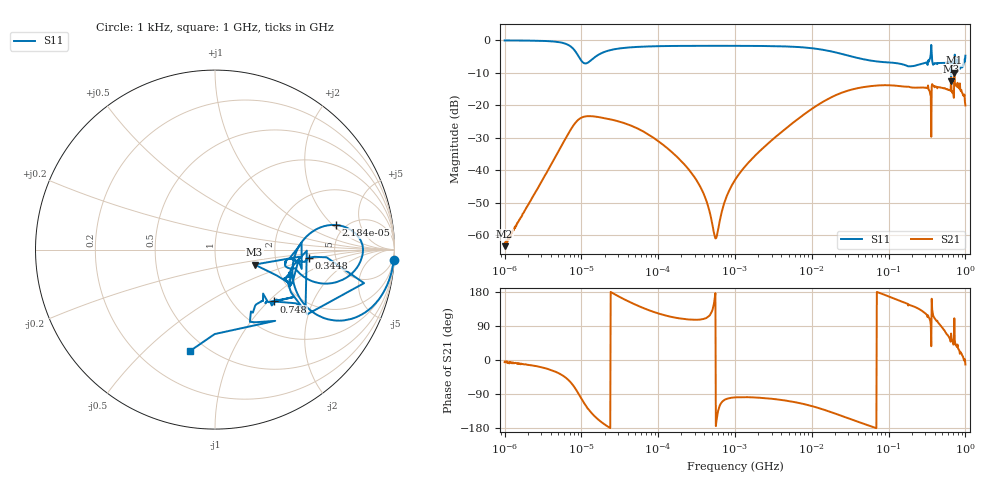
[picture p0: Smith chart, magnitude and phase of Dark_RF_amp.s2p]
! ListType=Log
# MHZ S RI R 50
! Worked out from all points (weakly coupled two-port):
!   1000 points, 1 kHz to 1 GHz, reference 50 ohm
!   highest |S21| = -9.95 dB at 717.6 MHz (marker M1); lowest = -63.4 dB at 1 kHz (marker M2)
!   lowest |S11| = -12.6 dB at 651.3 MHz (marker M3), VSWR 1.62, Z = 76.8 - j13.6 ohm
!   |S11| at or under -10 dB: 647.6 MHz to 657.1 MHz (9.56 MHz wide, 1.47 % of centre)
!   S12 and S22 are empty: the file has one direction only
!   S11 on the Smith chart (normalised r, x): 1 kHz: 2, -35; 21.84 kHz: 4.23, +2.20; 344.8 MHz: 3.14, -0.39; 748 MHz: 1.51, -1.08; 1 GHz: 0.41, -0.70
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0.001  0.9958 -0.0569  0.000676 -6.45e-05  0 0  0 0
0.0047718  0.9056 -0.2859  0.0148 -0.00939  0 0  0 0
0.0076363  0.6568 -0.3934  0.0201 -0.042  0 0  0 0
0.0100694  0.4401 -0.1936  -0.0147 -0.0632  0 0  0 0
0.0140329  0.514 0.0769  -0.0543 -0.0406  0 0  0 0
0.0218444  0.6752 0.1369  -0.062 -0.00532  0 0  0 0
0.1013925  0.8132 0.0477  -0.015 0.0235  0 0  0 0
0.3239743  0.8241 0.0103  -0.00187 0.00642  0 0  0 0
0.4213322  0.8246 0.00456  -0.00122 0.00324  0 0  0 0
0.5555776  0.8246 -0.00121  -0.000894 5.68e-05  0 0  0 0
0.753142  0.8244 -0.00762  -0.000847 -0.00346  0 0  0 0
1.006939  0.8238 -0.0144  -0.00107 -0.0071  0 0  0 0
10.13925  0.7416 -0.1499  -0.0471 -0.0756  0 0  0 0
29.4082  0.5567 -0.1812  -0.1504 -0.0752  0 0  0 0
100.6939  0.4452 -0.1046  -0.1991 0.0435  0 0  0 0
344.7764  0.5214 -0.045  -0.0436 0.153  0 0  0 0
390.4735  0.4095 -0.1387  -0.0774 0.1829  0 0  0 0
651.3491  0.2204 -0.0833  0.0927 0.2508  0 0  0 0
717.5561  0.5114 -0.00594  -0.1088 0.2987  0 0  0 0
747.9523  0.3273 -0.2889  0.158 0.1282  0 0  0 0
907.7327  0.2237 -0.3125  0.1516 0.0333  0 0  0 0
1000  -0.1382 -0.5643  0.0973 -0.0205  0 0  0 0
